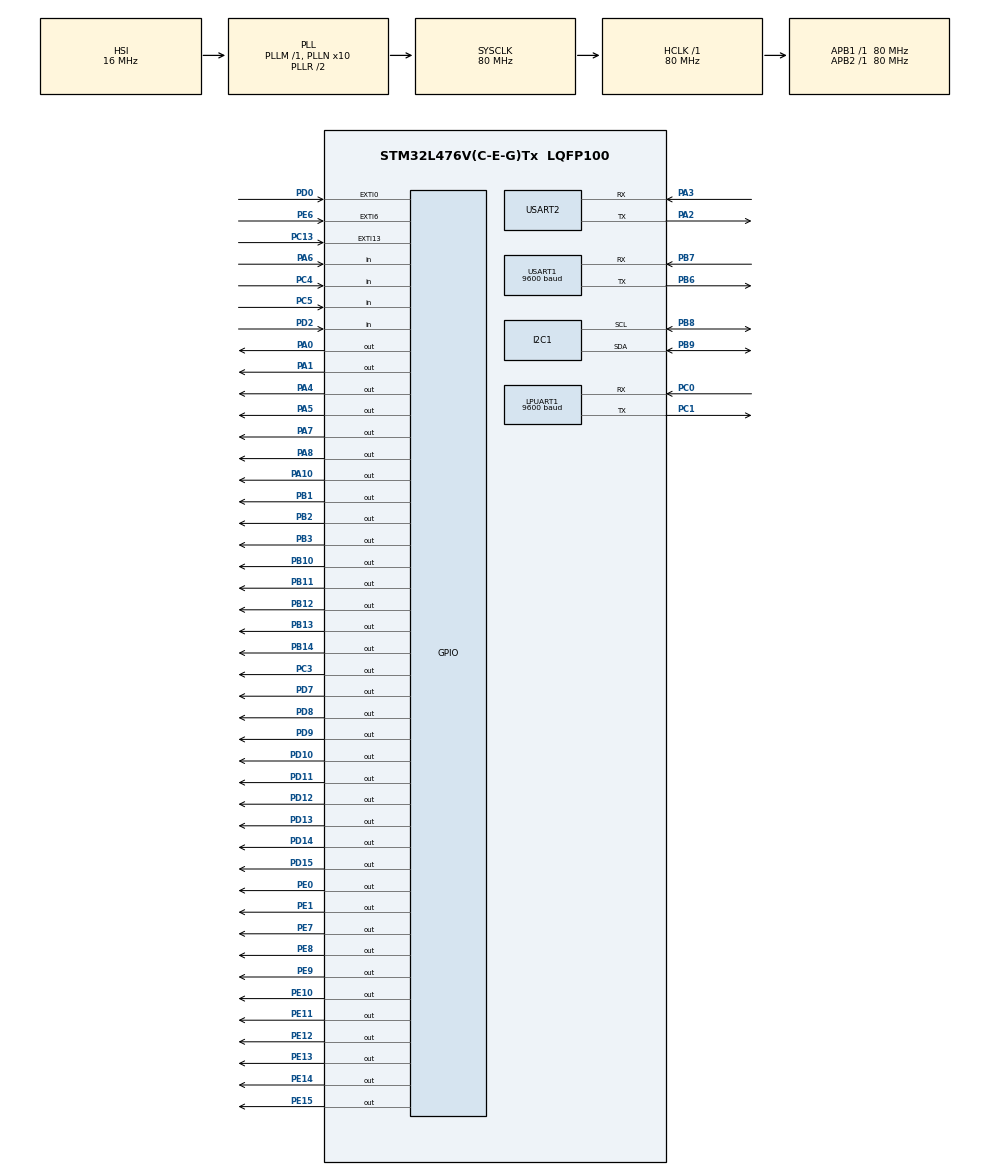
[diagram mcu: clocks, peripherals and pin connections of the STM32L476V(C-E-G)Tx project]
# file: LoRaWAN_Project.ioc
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Dma.LPUART_RX.0.Direction=DMA_PERIPH_TO_MEMORY
Dma.LPUART_RX.0.Instance=DMA2_Channel7
Dma.LPUART_RX.0.MemDataAlignment=DMA_MDATAALIGN_BYTE
Dma.LPUART_RX.0.MemInc=DMA_MINC_ENABLE
Dma.LPUART_RX.0.Mode=DMA_NORMAL
Dma.LPUART_RX.0.PeriphDataAlignment=DMA_PDATAALIGN_BYTE
Dma.LPUART_RX.0.PeriphInc=DMA_PINC_DISABLE
Dma.LPUART_RX.0.Priority=DMA_PRIORITY_LOW
Dma.Request0=LPUART_RX
Dma.Request1=USART1_RX
Dma.Request2=USART2_RX
Dma.USART1_RX.1.Direction=DMA_PERIPH_TO_MEMORY
Dma.USART1_RX.1.Instance=DMA1_Channel5
Dma.USART1_RX.1.MemDataAlignment=DMA_MDATAALIGN_BYTE
Dma.USART1_RX.1.MemInc=DMA_MINC_ENABLE
Dma.USART1_RX.1.Mode=DMA_NORMAL
Dma.USART1_RX.1.PeriphDataAlignment=DMA_PDATAALIGN_BYTE
Dma.USART1_RX.1.PeriphInc=DMA_PINC_DISABLE
Dma.USART1_RX.1.Priority=DMA_PRIORITY_LOW
Dma.USART2_RX.2.Direction=DMA_PERIPH_TO_MEMORY
Dma.USART2_RX.2.Instance=DMA1_Channel6
Dma.USART2_RX.2.MemDataAlignment=DMA_MDATAALIGN_BYTE
Dma.USART2_RX.2.MemInc=DMA_MINC_ENABLE
Dma.USART2_RX.2.Mode=DMA_NORMAL
Dma.USART2_RX.2.PeriphDataAlignment=DMA_PDATAALIGN_BYTE
Dma.USART2_RX.2.PeriphInc=DMA_PINC_DISABLE
Dma.USART2_RX.2.Priority=DMA_PRIORITY_LOW
I2C1.Timing=0x10909CEC
LPUART1.BaudRate=9600
LPUART1.WordLength=UART_WORDLENGTH_8B
Mcu.Family=STM32L4
Mcu.Name=STM32L476V(C-E-G)Tx
Mcu.Package=LQFP100
NVIC.DMA1_Channel5_IRQn=true\:0\:0\:true\:false\:true\:false\:true
NVIC.DMA1_Channel6_IRQn=true\:0\:0\:true\:false\:true\:false\:true
NVIC.DMA2_Channel7_IRQn=true\:0\:0\:false\:false\:true\:false\:true
NVIC.EXTI0_IRQn=true\:1\:0\:true\:false\:true\:true\:true
NVIC.EXTI15_10_IRQn=true\:1\:0\:true\:false\:true\:true\:true
NVIC.EXTI9_5_IRQn=true\:1\:0\:true\:false\:true\:true\:true
NVIC.LPUART1_IRQn=true\:1\:0\:true\:false\:true\:true\:true
NVIC.PriorityGroup=NVIC_PRIORITYGROUP_4
NVIC.USART1_IRQn=true\:1\:0\:true\:false\:true\:true\:true
NVIC.USART2_IRQn=true\:1\:0\:true\:false\:true\:true\:true
PA0.GPIO_Speed=GPIO_SPEED_FREQ_VERY_HIGH
PA0.PinState=GPIO_PIN_SET
PA0.Signal=GPIO_Output
PA1.GPIO_PuPd=GPIO_NOPULL
PA1.GPIO_Speed=GPIO_SPEED_FREQ_VERY_HIGH
PA1.PinState=GPIO_PIN_SET
PA1.Signal=GPIO_Output
PA10.Signal=GPIO_Output
PA2.GPIO_PuPd=GPIO_PULLUP
PA2.Mode=Asynchronous
PA2.Signal=USART2_TX
PA3.GPIO_PuPd=GPIO_PULLUP
PA3.Mode=Asynchronous
PA3.Signal=USART2_RX
PA4.Signal=GPIO_Output
PA5.Signal=GPIO_Output
PA6.Signal=GPIO_Input
PA7.Signal=GPIO_Output
PA8.GPIO_Speed=GPIO_SPEED_FREQ_VERY_HIGH
PA8.Signal=GPIO_Output
PB1.Signal=GPIO_Output
PB10.GPIO_Speed=GPIO_SPEED_FREQ_VERY_HIGH
PB10.Signal=GPIO_Output
PB11.GPIO_Speed=GPIO_SPEED_FREQ_VERY_HIGH
PB11.Signal=GPIO_Output
PB12.GPIO_Speed=GPIO_SPEED_FREQ_VERY_HIGH
PB12.Signal=GPIO_Output
PB13.GPIO_Speed=GPIO_SPEED_FREQ_VERY_HIGH
PB13.Signal=GPIO_Output
PB14.GPIO_Speed=GPIO_SPEED_FREQ_VERY_HIGH
PB14.Signal=GPIO_Output
PB2.Signal=GPIO_Output
PB3\ (JTDO-TRACESWO).GPIO_Speed=GPIO_SPEED_FREQ_VERY_HIGH
PB3\ (JTDO-TRACESWO).Signal=GPIO_Output
PB6.GPIO_PuPd=GPIO_PULLUP
PB6.Mode=Asynchronous
PB6.Signal=USART1_TX
PB7.GPIO_PuPd=GPIO_PULLUP
PB7.Mode=Asynchronous
PB7.Signal=USART1_RX
PB8.Mode=I2C
PB8.Signal=I2C1_SCL
PB9.Mode=I2C
PB9.Signal=I2C1_SDA
PC0.GPIO_PuPd=GPIO_PULLUP
PC0.Mode=Asynchronous
PC0.Signal=LPUART1_RX
PC1.GPIO_PuPd=GPIO_PULLUP
PC1.Mode=Asynchronous
PC1.Signal=LPUART1_TX
PC13.GPIO_ModeDefaultEXTI=GPIO_MODE_IT_FALLING
PC13.Signal=GPXTI13
PC3.GPIO_Speed=GPIO_SPEED_FREQ_VERY_HIGH
PC3.PinState=GPIO_PIN_SET
PC3.Signal=GPIO_Output
PC4.Signal=GPIO_Input
PC5.Signal=GPIO_Input
PD0.GPIO_ModeDefaultEXTI=GPIO_MODE_IT_FALLING
PD0.Signal=GPXTI0
PD10.GPIO_Speed=GPIO_SPEED_FREQ_VERY_HIGH
PD10.Signal=GPIO_Output
PD11.GPIO_Speed=GPIO_SPEED_FREQ_VERY_HIGH
PD11.Signal=GPIO_Output
PD12.GPIO_Speed=GPIO_SPEED_FREQ_VERY_HIGH
PD12.Signal=GPIO_Output
PD13.GPIO_Speed=GPIO_SPEED_FREQ_VERY_HIGH
PD13.Signal=GPIO_Output
PD14.GPIO_Speed=GPIO_SPEED_FREQ_VERY_HIGH
PD14.Signal=GPIO_Output
PD15.GPIO_Speed=GPIO_SPEED_FREQ_VERY_HIGH
PD15.Signal=GPIO_Output
PD2.GPIO_PuPd=GPIO_PULLDOWN
PD2.Signal=GPIO_Input
PD7.Signal=GPIO_Output
PD8.GPIO_Speed=GPIO_SPEED_FREQ_VERY_HIGH
PD8.Signal=GPIO_Output
PD9.GPIO_Speed=GPIO_SPEED_FREQ_VERY_HIGH
PD9.Signal=GPIO_Output
PE0.Signal=GPIO_Output
PE1.GPIO_Speed=GPIO_SPEED_FREQ_VERY_HIGH
PE1.Signal=GPIO_Output
PE10.GPIO_Speed=GPIO_SPEED_FREQ_VERY_HIGH
PE10.Signal=GPIO_Output
PE11.GPIO_Speed=GPIO_SPEED_FREQ_VERY_HIGH
PE11.Signal=GPIO_Output
PE12.GPIO_Speed=GPIO_SPEED_FREQ_VERY_HIGH
PE12.Signal=GPIO_Output
PE13.GPIO_Speed=GPIO_SPEED_FREQ_VERY_HIGH
PE13.Signal=GPIO_Output
PE14.GPIO_Speed=GPIO_SPEED_FREQ_VERY_HIGH
PE14.Signal=GPIO_Output
PE15.GPIO_Speed=GPIO_SPEED_FREQ_VERY_HIGH
PE15.Signal=GPIO_Output
PE6.GPIO_ModeDefaultEXTI=GPIO_MODE_IT_FALLING
PE6.Signal=GPXTI6
PE7.GPIO_Speed=GPIO_SPEED_FREQ_VERY_HIGH
PE7.Signal=GPIO_Output
PE8.GPIO_Speed=GPIO_SPEED_FREQ_VERY_HIGH
PE8.Signal=GPIO_Output
PE9.GPIO_Speed=GPIO_SPEED_FREQ_VERY_HIGH
PE9.Signal=GPIO_Output
PH0-OSC_IN\ (PH0).Mode=HSE-External-Oscillator
PH0-OSC_IN\ (PH0).Signal=RCC_OSC_IN
PH1-OSC_OUT\ (PH1).Mode=HSE-External-Oscillator
PH1-OSC_OUT\ (PH1).Signal=RCC_OSC_OUT
ProjectManager.HeapSize=0x200
ProjectManager.StackSize=0x400
ProjectManager.TargetToolchain=MDK-ARM V5.27
RCC.ADCFreq_Value=64000000
RCC.AHBFreq_Value=80000000
RCC.APB1Freq_Value=80000000
RCC.APB1TimFreq_Value=80000000
RCC.APB2Freq_Value=80000000
RCC.APB2TimFreq_Value=80000000
RCC.CortexFreq_Value=80000000
RCC.HCLKFreq_Value=80000000
RCC.HSE_VALUE=8000000
RCC.HSI_VALUE=16000000
RCC.LPUART1CLockSelection=RCC_LPUART1CLKSOURCE_HSI
RCC.LSE_VALUE=32768
RCC.MSI_VALUE=4000000
RCC.PLLN=10
RCC.PLLSourceVirtual=RCC_PLLSOURCE_HSI
RCC.SYSCLKFreq_VALUE=80000000
RCC.SYSCLKSource=RCC_SYSCLKSOURCE_PLLCLK
RCC.USBFreq_Value=64000000
RCC.VCOOutputFreq_Value=160000000
USART1.BaudRate=9600
USART1.VirtualMode-Asynchronous=VM_ASYNC
USART2.VirtualMode-Asynchronous=VM_ASYNC
VP_RTC_VS_RTC_Activate.Mode=RTC_Enabled
VP_TIM15_VS_ClockSourceINT.Mode=Internal
VP_TIM6_VS_ClockSourceINT.Mode=Enable_Timer
board=custom

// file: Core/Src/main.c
/* USER CODE BEGIN Header */
/**
  ******************************************************************************
  * @file           : main.c
  * @brief          : Main program body
  ******************************************************************************
  * @attention
  *
  * <h2><center>&copy; Copyright (c) 2022 STMicroelectronics.
  * All rights reserved.</center></h2>
  *
  * This software component is licensed by ST under BSD 3-Clause license,
  * the "License"; You may not use this file except in compliance with the
  * License. You may obtain a copy of the License at:
  *                        opensource.org/licenses/BSD-3-Clause
  *
  ******************************************************************************
  */
/* USER CODE END Header */
#include "main.h"
#include "dma.h"
#include "i2c.h"
#include "usart.h"
#include "rtc.h"
#include "tim.h"
#include "gpio.h"

/* USER CODE BEGIN Includes */
#include "stm32l4xx_hal.h"
#include "stm32l4xx_it.h"
#include "lorawan_node_driver.h"
#include "app.h"
#include "hdc1000.h"
#include "opt3001.h"
#include "MPL3115.h"
#include "mma8451.h"
#include "ST7789v.h"
#include "XPT2046.h"
/* USER CODE END Includes */

void SystemClock_Config(void);

int main(void)
{

  /* MCU Configuration--------------------------------------------------------*/

  /* Reset of all peripherals, Initializes the Flash interface and the Systick. */
  HAL_Init();

  /* Configure the system clock */
  SystemClock_Config();

  /* Initialize all configured peripherals */
  MX_GPIO_Init();
  MX_DMA_Init();
  MX_LPUART1_UART_Init();
  MX_USART1_UART_Init();
  MX_USART2_UART_Init();
  MX_TIM6_Init();
  MX_RTC_Init();
  MX_TIM15_Init();
  MX_I2C1_Init();
  /* USER CODE BEGIN 2 */

  HAL_Delay(20);
  LPUART1_Clear_IT();         //清除中断并开启空闲中断
  USART2_Clear_IT();           //清除中断并开启空闲中断
  /** 温湿度传感器 */
  HDC1000_Init();

  /** 光强传感器 */
  OPT3001_Init();

  /** 气压传感器 */
  MPL3115_Init(MODE_BAROMETER);

  /** 加速度传感器 */
  MMA8451_Init();

  /** 液晶 */
  //LCD_Init();

  /** 复位模块 */
  HAL_Delay(500);              //模块上电初始化时间
  Node_Hard_Reset();

  /** 开发板信息打印 */
  LoRaWAN_Borad_Info_Print();

  /* USER CODE END 2 */

  /* Infinite loop */
  /* USER CODE BEGIN WHILE */
  while (1)
  {
		 LoRaWAN_Func_Process();
    /* USER CODE END WHILE */

  }
}

void SystemClock_Config(void)
{
  RCC_OscInitTypeDef RCC_OscInitStruct = {0};
  RCC_ClkInitTypeDef RCC_ClkInitStruct = {0};
  RCC_PeriphCLKInitTypeDef PeriphClkInit = {0};

  /** Initializes the RCC Oscillators according to the specified parameters
  * in the RCC_OscInitTypeDef structure.
  */
  RCC_OscInitStruct.OscillatorType = RCC_OSCILLATORTYPE_HSI|RCC_OSCILLATORTYPE_LSI;
  RCC_OscInitStruct.HSIState = RCC_HSI_ON;
  RCC_OscInitStruct.HSICalibrationValue = RCC_HSICALIBRATION_DEFAULT;
  RCC_OscInitStruct.LSIState = RCC_LSI_ON;
  RCC_OscInitStruct.PLL.PLLState = RCC_PLL_ON;
  RCC_OscInitStruct.PLL.PLLSource = RCC_PLLSOURCE_HSI;
  RCC_OscInitStruct.PLL.PLLM = 1;
  RCC_OscInitStruct.PLL.PLLN = 10;
  RCC_OscInitStruct.PLL.PLLP = RCC_PLLP_DIV7;
  RCC_OscInitStruct.PLL.PLLQ = RCC_PLLQ_DIV2;
  RCC_OscInitStruct.PLL.PLLR = RCC_PLLR_DIV2;
  if (HAL_RCC_OscConfig(&RCC_OscInitStruct) != HAL_OK)
  {
    Error_Handler();
  }
  /** Initializes the CPU, AHB and APB buses clocks
  */
  RCC_ClkInitStruct.ClockType = RCC_CLOCKTYPE_HCLK|RCC_CLOCKTYPE_SYSCLK
                              |RCC_CLOCKTYPE_PCLK1|RCC_CLOCKTYPE_PCLK2;
  RCC_ClkInitStruct.SYSCLKSource = RCC_SYSCLKSOURCE_PLLCLK;
  RCC_ClkInitStruct.AHBCLKDivider = RCC_SYSCLK_DIV1;
  RCC_ClkInitStruct.APB1CLKDivider = RCC_HCLK_DIV1;
  RCC_ClkInitStruct.APB2CLKDivider = RCC_HCLK_DIV1;

  if (HAL_RCC_ClockConfig(&RCC_ClkInitStruct, FLASH_LATENCY_4) != HAL_OK)
  {
    Error_Handler();
  }
  PeriphClkInit.PeriphClockSelection = RCC_PERIPHCLK_RTC|RCC_PERIPHCLK_USART1
                              |RCC_PERIPHCLK_USART2|RCC_PERIPHCLK_LPUART1
                              |RCC_PERIPHCLK_I2C1;
  PeriphClkInit.Usart1ClockSelection = RCC_USART1CLKSOURCE_PCLK2;
  PeriphClkInit.Usart2ClockSelection = RCC_USART2CLKSOURCE_PCLK1;
  PeriphClkInit.Lpuart1ClockSelection = RCC_LPUART1CLKSOURCE_HSI;
  PeriphClkInit.I2c1ClockSelection = RCC_I2C1CLKSOURCE_PCLK1;
  PeriphClkInit.RTCClockSelection = RCC_RTCCLKSOURCE_LSI;
  if (HAL_RCCEx_PeriphCLKConfig(&PeriphClkInit) != HAL_OK)
  {
    Error_Handler();
  }
  /** Configure the main internal regulator output voltage
  */
  if (HAL_PWREx_ControlVoltageScaling(PWR_REGULATOR_VOLTAGE_SCALE1) != HAL_OK)
  {
    Error_Handler();
  }
}

void Error_Handler(void)
{
  __disable_irq();
  while (1)
  {
  }
}

/************************ (C) COPYRIGHT STMicroelectronics *****END OF FILE****/
